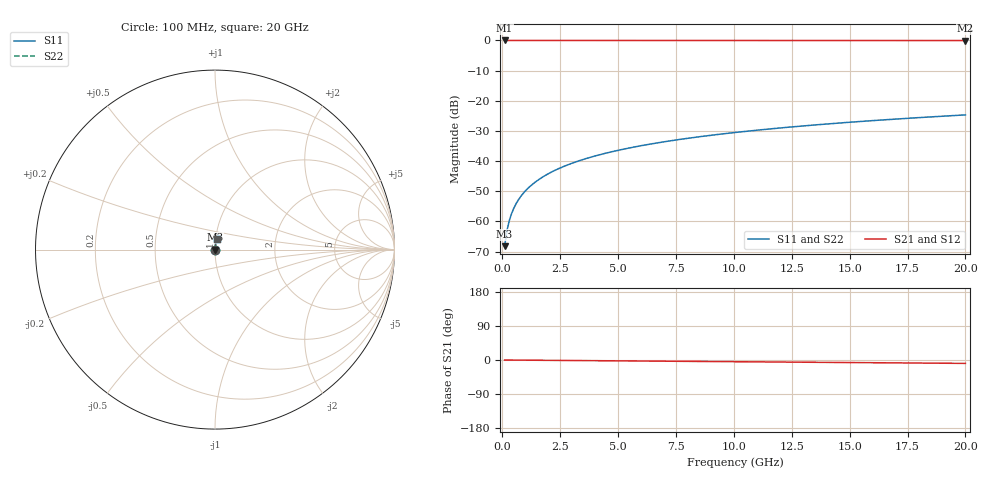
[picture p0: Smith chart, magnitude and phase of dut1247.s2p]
! Touchstone file exported from HFSS 2026.1.0
!  File:  C:/ffzhzh/LocalFiles/Ansys_Project_Files/temp_train_TSV_1247_1783193571_18472.aedt
!  Generated:  03:34:43 AM Jul  5, 2026
!  Design:  TSV
!  Project:  temp_train_TSV_1247_1783193571_18472
! Variables:
!  h_bsmrdl = 2um
!  h_ox = 20um
!  h_rdl = 5um
!  h_sub = 79.62um
!  h_tmrdl = 5um
!  h_tsv = 79.62um
!  h_via = 3um
!  l_bsmrdl = 300um
!  l_sub = 414.98um
!  l_tmrdl = 200um
!  m_sub = 200um
!  pitch = 51um
!  r_tsv = 7.49um
!  s_tmrdl = 10um
!  w_bsmrdl = 18um
!  w_sub = 500um
!  w_tmrdl = 12um
!  x_tsv_center1 = 206um
!  x_tsv_center2 = 524um
!  x_tsv_center3 = 736um
!  x_tsv_center4 = 1054um
!  x_tsv_center5 = 1266um
!  x_tsv_center6 = 1584um
# GHz S MA R 50.000000
! Terminal data exported
! Port[1] = TSV1_1_T1
! Port[2] = TSV1_1_T2
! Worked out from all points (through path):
!   200 points, 100 MHz to 20 GHz, reference 50 ohm
!   highest |S21| = 0.00 dB at 100 MHz (marker M1); lowest = 0.0 dB at 20 GHz (marker M2)
!   group delay of S21, straight-line fit = 1.24 ps
!   lowest |S11| = -68.2 dB at 100 MHz (marker M3), VSWR 1.00, Z = 50 + j0.0335 ohm
!   |S11| at or under -10 dB: start of sweep to end of sweep
!   |S22| runs from -68.2 to -24.7 dB; largest |S21 - S12| = 2e-15
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0.1  0.0003883 59.5  0.9998 -0.0  0.9998 -0.0  0.0003883 59.5
! Gamma 0 0 0 0
! Port Impedance 50 0 50 0
0.2  0.000699 72.8  0.9998 -0.1  0.9998 -0.1  0.000699 72.8
0.3  0.001022 77.4  0.9998 -0.1  0.9998 -0.1  0.001022 77.4
0.4  0.001344 79.6  0.9998 -0.2  0.9998 -0.2  0.001344 79.6
0.5  0.001664 80.8  0.9997 -0.2  0.9997 -0.2  0.001664 80.8
0.6  0.00198 81.5  0.9997 -0.3  0.9997 -0.3  0.00198 81.5
0.7  0.002292 82.1  0.9997 -0.3  0.9997 -0.3  0.002292 82.1
0.8  0.002601 82.4  0.9997 -0.4  0.9997 -0.4  0.002601 82.4
1  0.003212 83.0  0.9996 -0.5  0.9996 -0.5  0.003212 83.0
1.4  0.004415 83.8  0.9996 -0.6  0.9996 -0.6  0.004415 83.8
1.7  0.005311 84.2  0.9995 -0.8  0.9995 -0.8  0.005311 84.2
2  0.006205 84.5  0.9995 -0.9  0.9995 -0.9  0.006205 84.5
2.7  0.008287 84.8  0.9994 -1.2  0.9994 -1.2  0.008287 84.8
3.5  0.01066 85.0  0.9993 -1.6  0.9993 -1.6  0.01066 85.0
4.2  0.01273 84.9  0.9992 -1.9  0.9992 -1.9  0.01273 84.9
5  0.01508 84.8  0.9991 -2.3  0.9991 -2.3  0.01508 84.8
6.8  0.02034 84.4  0.9989 -3.1  0.9989 -3.1  0.02034 84.4
8.3  0.02471 84.0  0.9987 -3.7  0.9987 -3.7  0.02471 84.0
10.1  0.02993 83.4  0.9985 -4.5  0.9985 -4.5  0.02993 83.4
13.4  0.03944 82.2  0.998 -6.0  0.998 -6.0  0.03944 82.2
16.7  0.0489 80.9  0.9974 -7.5  0.9974 -7.5  0.0489 80.9
20  0.05827 79.5  0.9968 -8.9  0.9968 -8.9  0.05827 79.5
